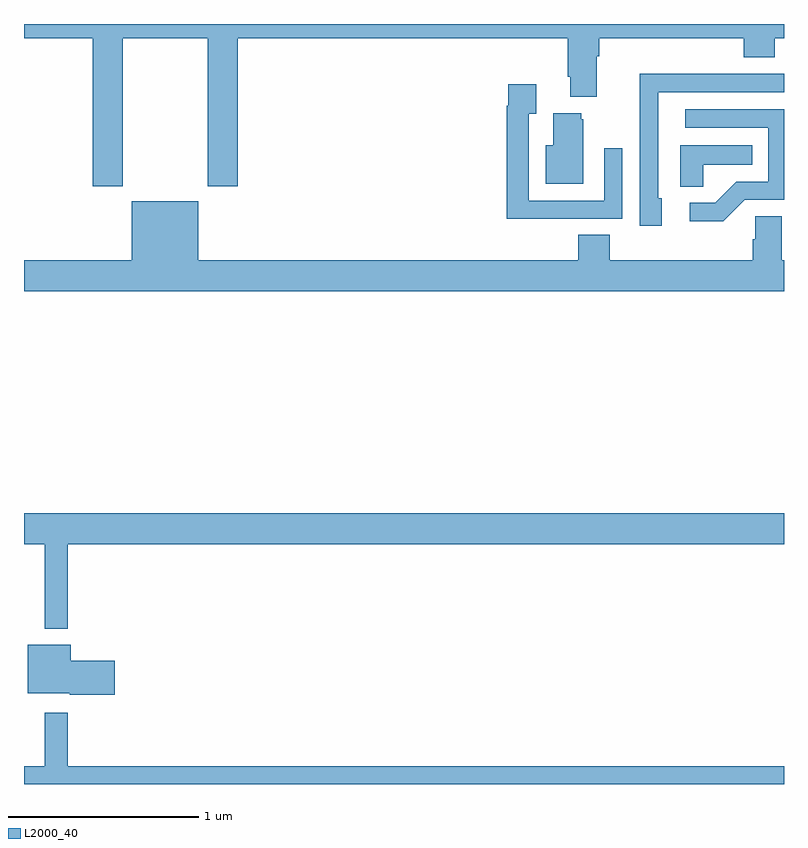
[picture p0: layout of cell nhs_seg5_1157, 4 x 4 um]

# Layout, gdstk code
import gdstk
lib = gdstk.Library(unit=1e-6, precision=1e-09)
def P(c, l, *ps):  # polygons
    for p in ps: c.add(gdstk.Polygon(p, *l))
L2000_40 = (2000, 40)

nhs_seg5_1157 = lib.new_cell('nhs_seg5_1157')
P(nhs_seg5_1157, L2000_40, [(181.521,892.724),(181.966,892.724),(181.966,891.945),(182.126,891.945),(182.126,892.724),(183.863,892.724),(183.863,892.522),(183.875,892.522),(183.875,892.415),(184.015,892.415),(184.015,892.628),(184.028,892.628),(184.028,892.724),(184.787,892.724),(184.787,892.625),(184.952,892.625),(184.952,892.724),(185,892.724),(185,892.799),(181,892.799),(181,892.724),(181.361,892.724),(181.361,891.945),(181.521,891.945)],
  [(184.357,891.882),(184.338,891.882),(184.338,892.44),(185,892.44),(185,892.536),(184.703,892.536),(184.703,892.538),(184.24,892.538),(184.24,892.231),(184.242,892.231),(184.242,891.738),(184.357,891.738)],
  [(183.833,891.774),(184.149,891.774),(184.149,892.144),(184.053,892.144),(184.053,891.87),(183.657,891.87),(183.657,892.327),(183.697,892.327),(183.697,892.483),(183.549,892.483),(183.549,892.37),(183.541,892.37),(183.541,891.773),(183.833,891.773)],
  [(184.794,891.873),(185,891.873),(185,892.35),(184.479,892.35),(184.479,892.254),(184.917,892.254),(184.917,891.969),(184.748,891.969),(184.637,891.858),(184.503,891.858),(184.503,891.761),(184.681,891.761)],
  [(183.943,892.299),(183.932,892.299),(183.932,892.33),(183.785,892.33),(183.785,892.162),(183.746,892.162),(183.746,891.959),(183.943,891.959)],
  [(184.575,892.058),(184.832,892.058),(184.832,892.162),(184.454,892.162),(184.454,891.943),(184.575,891.943)],
  [(185,891.556),(184.987,891.556),(184.987,891.788),(184.848,891.788),(184.848,891.665),(184.835,891.665),(184.835,891.556),(184.082,891.556),(184.082,891.689),(183.917,891.689),(183.917,891.556),(181.918,891.556),(181.918,891.865),(181.568,891.865),(181.568,891.556),(181,891.556),(181,891.392),(185,891.392)],
  [(181.231,890.06),(185,890.06),(185,890.224),(181,890.224),(181,890.06),(181.109,890.06),(181.109,889.616),(181.231,889.616)],
  [(181.477,889.448),(181.246,889.448),(181.246,889.531),(181.019,889.531),(181.019,889.277),(181.242,889.277),(181.242,889.27),(181.477,889.27)],
  [(181.231,889.174),(181.109,889.174),(181.109,888.892),(181,888.892),(181,888.799),(185,888.799),(185,888.892),(181.231,888.892)])

lib.write_gds('nhs_seg5_1157.gds')
